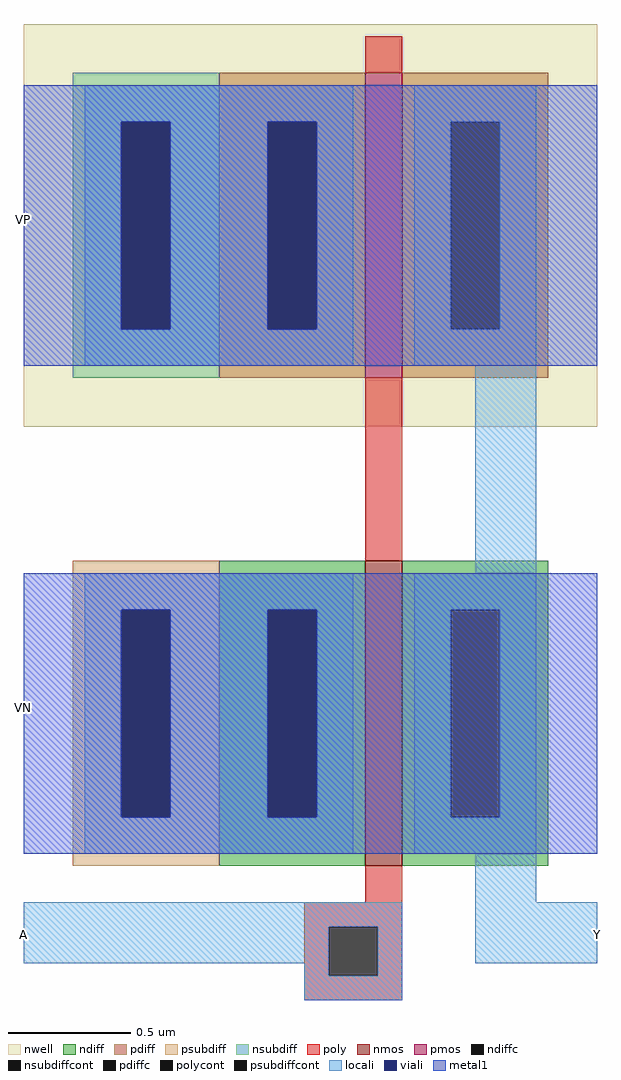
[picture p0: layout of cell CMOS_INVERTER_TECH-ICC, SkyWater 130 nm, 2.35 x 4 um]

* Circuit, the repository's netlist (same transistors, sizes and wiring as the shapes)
* SPICE3 file created from CMOS_INVERTER_TECH-ICC.ext - technology: sky130A

X0 Y A VN VN sky130_fd_pr__nfet_01v8 ad=0.75 pd=3.7 as=0.75 ps=3.7 w=1.25 l=0.15
X1 Y A VP VP sky130_fd_pr__pfet_01v8 ad=0.75 pd=3.7 as=0.75 ps=3.7 w=1.25 l=0.15

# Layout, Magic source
magic
tech sky130A
<< nwell >>
rect 810 350 1045 515
<< nmos >>
rect 950 170 965 295
<< pmos >>
rect 950 370 965 495
<< ndiff >>
rect 890 275 950 295
rect 890 190 910 275
rect 930 190 950 275
rect 890 170 950 190
rect 965 275 1025 295
rect 965 190 985 275
rect 1005 190 1025 275
rect 965 170 1025 190
<< pdiff >>
rect 890 475 950 495
rect 890 390 910 475
rect 930 390 950 475
rect 890 370 950 390
rect 965 475 1025 495
rect 965 390 985 475
rect 1005 390 1025 475
rect 965 370 1025 390
<< ndiffc >>
rect 910 190 930 275
rect 985 190 1005 275
<< pdiffc >>
rect 910 390 930 475
rect 985 390 1005 475
<< psubdiff >>
rect 830 275 890 295
rect 830 190 850 275
rect 870 190 890 275
rect 830 170 890 190
<< nsubdiff >>
rect 830 475 890 495
rect 830 390 850 475
rect 870 390 890 475
rect 830 370 890 390
<< psubdiffcont >>
rect 850 190 870 275
<< nsubdiffcont >>
rect 850 390 870 475
<< poly >>
rect 950 495 965 510
rect 950 295 965 370
rect 950 155 965 170
rect 925 145 965 155
rect 925 125 935 145
rect 955 125 965 145
rect 925 115 965 125
<< polycont >>
rect 935 125 955 145
<< locali >>
rect 835 475 945 490
rect 835 390 850 475
rect 870 390 910 475
rect 930 390 945 475
rect 835 375 945 390
rect 970 475 1020 490
rect 970 390 985 475
rect 1005 390 1020 475
rect 970 375 1020 390
rect 995 290 1020 375
rect 835 275 945 290
rect 835 190 850 275
rect 870 190 910 275
rect 930 190 945 275
rect 835 175 945 190
rect 970 275 1020 290
rect 970 190 985 275
rect 1005 190 1020 275
rect 970 175 1020 190
rect 995 155 1020 175
rect 810 145 965 155
rect 810 130 935 145
rect 925 125 935 130
rect 955 125 965 145
rect 995 130 1045 155
rect 925 115 965 125
<< viali >>
rect 850 390 870 475
rect 910 390 930 475
rect 850 190 870 275
rect 910 190 930 275
<< metal1 >>
rect 810 475 1045 490
rect 810 390 850 475
rect 870 390 910 475
rect 930 390 1045 475
rect 810 375 1045 390
rect 810 275 1045 290
rect 810 190 850 275
rect 870 190 910 275
rect 930 190 1045 275
rect 810 175 1045 190
<< labels >>
rlabel locali 810 142 810 142 7 A
port 1 w
rlabel locali 1045 142 1045 142 3 Y
port 2 e
rlabel metal1 810 435 810 435 7 VP
port 3 w
rlabel metal1 810 235 810 235 7 VN
port 4 w
<< end >>
